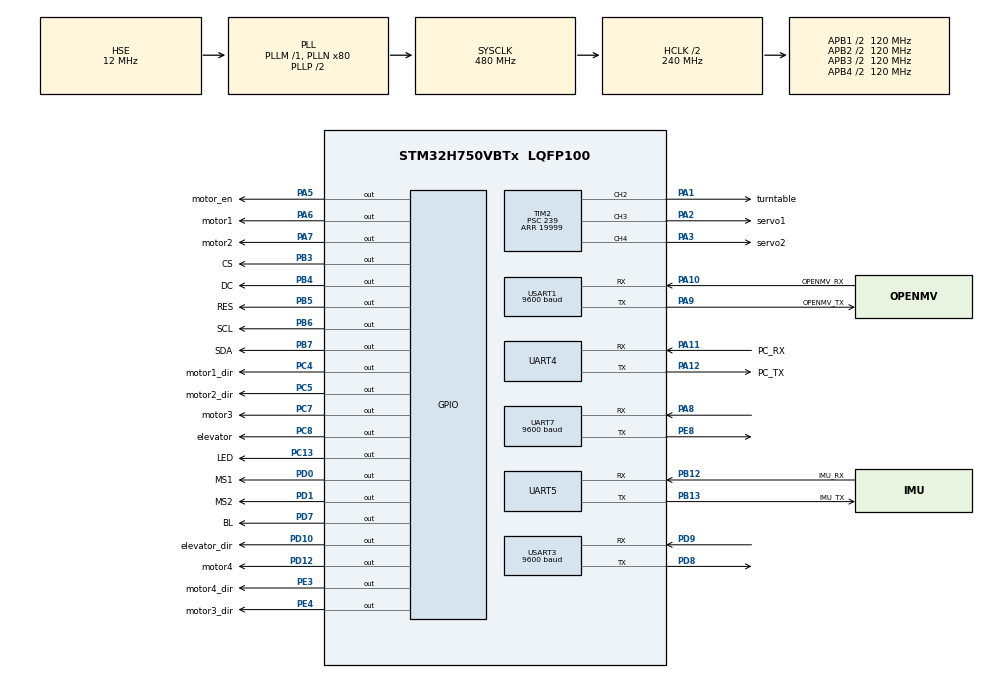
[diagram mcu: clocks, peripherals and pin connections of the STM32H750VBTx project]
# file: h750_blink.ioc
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Mcu.Family=STM32H7
Mcu.Name=STM32H750VBTx
Mcu.Package=LQFP100
NVIC.PriorityGroup=NVIC_PRIORITYGROUP_3
NVIC.UART5_IRQn=true\:0\:0\:false\:false\:true\:true\:true\:true
NVIC.UART7_IRQn=true\:3\:0\:true\:false\:true\:true\:true\:true
NVIC.USART1_IRQn=true\:0\:1\:true\:false\:true\:true\:true\:true
PA1.GPIO_Label=turntable
PA1.Signal=S_TIM2_CH2
PA10.GPIO_Label=OPENMV_RX
PA10.Mode=Asynchronous
PA10.Signal=USART1_RX
PA11.GPIO_Label=PC_RX
PA11.Mode=Asynchronous
PA11.Signal=UART4_RX
PA12.GPIO_Label=PC_TX
PA12.Mode=Asynchronous
PA12.Signal=UART4_TX
PA13\ (JTMS/SWDIO).Mode=Serial_Wire
PA13\ (JTMS/SWDIO).Signal=DEBUG_JTMS-SWDIO
PA14\ (JTCK/SWCLK).Mode=Serial_Wire
PA14\ (JTCK/SWCLK).Signal=DEBUG_JTCK-SWCLK
PA2.GPIO_Label=servo1
PA2.Signal=S_TIM2_CH3
PA3.GPIO_Label=servo2
PA3.Signal=S_TIM2_CH4
PA5.GPIO_Label=motor_en
PA5.GPIO_Speed=GPIO_SPEED_FREQ_LOW
PA5.Signal=GPIO_Output
PA6.GPIO_Label=motor1
PA6.Signal=GPIO_Output
PA7.GPIO_Label=motor2
PA7.Signal=GPIO_Output
PA8.Mode=Asynchronous
PA8.Signal=UART7_RX
PA9.GPIO_Label=OPENMV_TX
PA9.Mode=Asynchronous
PA9.Signal=USART1_TX
PB12.GPIO_Label=IMU_RX
PB12.Mode=Asynchronous
PB12.Signal=UART5_RX
PB13.GPIO_Label=IMU_TX
PB13.Mode=Asynchronous
PB13.Signal=UART5_TX
PB3\ (JTDO/TRACESWO).GPIO_Label=CS
PB3\ (JTDO/TRACESWO).GPIO_Speed=GPIO_SPEED_FREQ_LOW
PB3\ (JTDO/TRACESWO).Signal=GPIO_Output
PB4\ (NJTRST).GPIO_Label=DC
PB4\ (NJTRST).GPIO_Speed=GPIO_SPEED_FREQ_LOW
PB4\ (NJTRST).Signal=GPIO_Output
PB5.GPIO_Label=RES
PB5.GPIO_Speed=GPIO_SPEED_FREQ_LOW
PB5.Signal=GPIO_Output
PB6.GPIO_Label=SCL
PB6.GPIO_Speed=GPIO_SPEED_FREQ_LOW
PB6.Signal=GPIO_Output
PB7.GPIO_Label=SDA
PB7.GPIO_Speed=GPIO_SPEED_FREQ_LOW
PB7.Signal=GPIO_Output
PC13.GPIO_Label=LED
PC13.Signal=GPIO_Output
PC4.GPIO_Label=motor1_dir
PC4.Signal=GPIO_Output
PC5.GPIO_Label=motor2_dir
PC5.Signal=GPIO_Output
PC7.GPIO_Label=motor3
PC7.Signal=GPIO_Output
PC8.GPIO_Label=elevator
PC8.Signal=GPIO_Output
PD0.GPIO_Label=MS1
PD0.PinState=GPIO_PIN_SET
PD0.Signal=GPIO_Output
PD1.GPIO_Label=MS2
PD1.Signal=GPIO_Output
PD10.GPIO_Label=elevator_dir
PD10.Signal=GPIO_Output
PD12.GPIO_Label=motor4
PD12.Signal=GPIO_Output
PD7.GPIO_Label=BL
PD7.GPIO_Speed=GPIO_SPEED_FREQ_LOW
PD7.Signal=GPIO_Output
PD8.Mode=Asynchronous
PD8.Signal=USART3_TX
PD9.Mode=Asynchronous
PD9.Signal=USART3_RX
PE3.GPIO_Label=motor4_dir
PE3.Signal=GPIO_Output
PE4.GPIO_Label=motor3_dir
PE4.Signal=GPIO_Output
PE8.Mode=Asynchronous
PE8.Signal=UART7_TX
PH0-OSC_IN\ (PH0).Mode=HSE-External-Oscillator
PH0-OSC_IN\ (PH0).Signal=RCC_OSC_IN
PH1-OSC_OUT\ (PH1).Mode=HSE-External-Oscillator
PH1-OSC_OUT\ (PH1).Signal=RCC_OSC_OUT
ProjectManager.HeapSize=0x200
ProjectManager.StackSize=0x400
ProjectManager.TargetToolchain=STM32CubeIDE
RCC.ADCFreq_Value=24187500
RCC.APB1Freq_Value=120000000
RCC.APB2Freq_Value=120000000
RCC.APB3Freq_Value=120000000
RCC.APB4Freq_Value=120000000
RCC.CortexFreq_Value=480000000
RCC.D1PPRE=RCC_APB3_DIV2
RCC.D2PPRE1=RCC_APB1_DIV2
RCC.D2PPRE2=RCC_APB2_DIV2
RCC.D3PPRE=RCC_APB4_DIV2
RCC.DIVM1=1
RCC.DIVN1=80
RCC.HCLKFreq_Value=240000000
RCC.HPRE=RCC_HCLK_DIV2
RCC.HSE_VALUE=12000000
RCC.PLLFRACN=0
RCC.PLLSourceVirtual=RCC_PLLSOURCE_HSE
RCC.SYSCLKFreq_VALUE=480000000
RCC.SYSCLKSource=RCC_SYSCLKSOURCE_PLLCLK
RCC.USBFreq_Value=480000000
SH.S_TIM2_CH2.0=TIM2_CH2,PWM Generation2 CH2
SH.S_TIM2_CH3.0=TIM2_CH3,PWM Generation3 CH3
SH.S_TIM2_CH4.0=TIM2_CH4,PWM Generation4 CH4
TIM2.AutoReloadPreload=TIM_AUTORELOAD_PRELOAD_ENABLE
TIM2.Channel-PWM\ Generation2\ CH2=TIM_CHANNEL_2
TIM2.Channel-PWM\ Generation3\ CH3=TIM_CHANNEL_3
TIM2.Channel-PWM\ Generation4\ CH4=TIM_CHANNEL_4
TIM2.Period=19999
TIM2.Prescaler=239
UART7.BaudRate=9600
USART1.BaudRate=9600
USART1.VirtualMode-Asynchronous=VM_ASYNC
USART3.BaudRate=9600
USART3.VirtualMode-Asynchronous=VM_ASYNC
VP_MEMORYMAP_VS_MEMORYMAP.Mode=CurAppReg
board=custom

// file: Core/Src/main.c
/* USER CODE BEGIN Header */
/**
  ******************************************************************************
  * @file           : main.c
  * @brief          : Main program body
  ******************************************************************************
  * @attention
  *
  * Copyright (c) 2024 STMicroelectronics.
  * All rights reserved.
  *
  * This software is licensed under terms that can be found in the LICENSE file
  * in the root directory of this software component.
  * If no LICENSE file comes with this software, it is provided AS-IS.
  *
  ******************************************************************************
  */
/* USER CODE END Header */
#include "main.h"
#include "memorymap.h"
#include "tim.h"
#include "usart.h"
#include "gpio.h"

/* USER CODE BEGIN PD */

//ƽ���з�??
void turnleft_pid(void);
void car_right_pid(unsigned int gom);
void car_left_pid(unsigned int gom);
void normal_pid(float target_data);
/* USER CODE END PD */

/* USER CODE BEGIN PV */
//?????????��????

//??????????����

//??????????����

/* USER CODE END PV */

void SystemClock_Config(void);
/* USER CODE BEGIN PFP */
uint8_t USART1_RXbuff[20];
uint8_t code[3];
uint8_t IMU_RxBuffer[4];
uint8_t QRCODE[6];
//int16_t error_k230_x;
union un{
    uint8_t buff[4];
    float data;
};
union un IMU_data;
uint16_t last[10];
uint8_t indx;
float initial_angel;
float first_initial_angel;
/* USER CODE END PFP */

/* USER CODE BEGIN 0 */
uint8_t color;

volatile uint16_t buffer[BUFFER_SIZE];            // ���λ�����
volatile uint16_t sum = 0;
volatile uint16_t X=0;
volatile uint16_t Y=0;
volatile uint16_t X0=0;
volatile uint16_t Y0=0;
uint16_t r;
uint16_t r0;
uint8_t motionflag;
uint8_t k230_RxBuffer[1];   //????????????
uint16_t RxLine = 0;   //?????��??
uint8_t DataBuff[200]; //????????

float last_data,error_data,delta_data;
float expect_data=90.00;
float k230_kp=0.5;
/* USER CODE END 0 */

int main(void)
{

  /* MCU Configuration--------------------------------------------------------*/

  /* Reset of all peripherals, Initializes the Flash interface and the Systick. */
  HAL_Init();

  /* Configure the system clock */
  SystemClock_Config();

  /* Initialize all configured peripherals */
  MX_GPIO_Init();
  LCD_Init();
  MX_UART4_Init();
  MX_TIM2_Init();
  MX_USART1_UART_Init();
  MX_USART3_UART_Init();
  MX_UART5_Init();
  MX_UART7_Init();
  /* USER CODE BEGIN 2 */
    // HAL_TIM_PWM_Start(&htim2,TIM_CHANNEL_4);
    HAL_UART_Receive_IT(&huart1,(uint8_t *)USART1_RXbuff, 7);
    HAL_UART_Receive_IT(&huart7,(uint8_t *)k230_RxBuffer, 1);
    HAL_UART_Receive_IT(&huart5,(uint8_t *)IMU_RxBuffer, 4);
    HAL_TIM_PWM_Start(&htim2,TIM_CHANNEL_2);
    HAL_TIM_PWM_Start(&htim2,TIM_CHANNEL_3);
    HAL_TIM_PWM_Start(&htim2,TIM_CHANNEL_4);
    RetargetInit(&huart4);

    //HAL_TIM_PWM_Start(&htim2,TIM_CHANNEL_3);
    delay_init(480);
    HAL_GPIO_WritePin(motor3_dir_GPIO_Port,motor3_dir_Pin,SET);
    HAL_GPIO_WritePin(motor4_dir_GPIO_Port,motor4_dir_Pin,SET);
    delay_ms(1000);
  /* USER CODE END 2 */

  /* Infinite loop */
  /* USER CODE BEGIN WHILE */
//    QRCODE[0]=3;
//    QRCODE[1]=2;
//    QRCODE[2]=1;
    while (1) {

    /* USER CODE END WHILE */

    /* USER CODE BEGIN 3 */

        LCD_DrawLine(80, 40, 80, 80);//????+
        LCD_DrawLine(70, 60, 90, 60);
        // position0;
        // delay_ms(1000);
        // position3;
        // position2;
        // for(;;);

        // delay_ms(1000);
        // servo_open;

        // elevator_down(200);
        // elevator_up(200);
        // delay_ms(1000);
        // fistpick();
        // delay_ms(500);
        // position0;

        position2;

        delay_ms(5000);

        //__HAL_TIM_SET_COMPARE(&htim2, TIM_CHANNEL_2, 1000);

        //microposition0(&X0, &Y0);
        // secondpick();

//
//        while (color != QRCODE[0]);
//////      {
//////      // printf("color:%d\n",color);
//////      }
//        servo_open;
//        microposition(&X, &Y);
//        fistpick();

        servo_open;

        initial_angel = IMU_data.data;
        first_initial_angel = IMU_data.data;

        car_left_pid(1000);
        initial_angel = IMU_data.data;
        first_initial_angel = IMU_data.data;
        //normal_pid(0);

//        while (QRCODE[0] == 0)//�ȴ���ά��ʶ��
//        {
//            microforward(1);
//        }

        elevator_down(1000);
        gotarget_s(4800);
        while (QRCODE[0] == 0);//�ȴ���ά��ʶ��
        position0;
        gotarget_s(4575);

        car_right_pid(400);
        //normal_pid(0);

        while (color != QRCODE[0]);
//      {
//      // printf("color:%d\n",color);
//      }
        // elevator_up(200);
        // elevator_down(200);
        microposition(&X, &Y);
        fistpick();
        switch (QRCODE[0]) {
            case 1:
                layin1();
//                position1;
                break;
            case 2:
                layin2();
//                position2;
                break;
            case 3:
                layin3();
//                position3;
                break;
        }

        position0;
        delay_ms(100);
        for (uint8_t i = 1; i < 3; i++) {
            while (color != QRCODE[i]);

            fistpick();
            switch (QRCODE[i]) {
                case 1:
                    layin1();
//                    position1;
                    break;
                case 2:
                    layin2();
//                    position2;
                    break;
                case 3:
                    layin3();
//                    position3;
                    break;
            }

            position0;
            delay_ms(100);
        }

        car_left_pid(400);
        //normal_pid(0);

        gotarget_s(2560);
        //normal_pid(0);

        turnleft(2035);
        // normal_pid(90);
        initial_angel = IMU_data.data - 0.8;

        gotarget_s(4750);

        car_right_pid(500);
        delay_ms(100);

        if (QRCODE[0] == 1 && QRCODE[1] == 2 && QRCODE[2] == 3) {
            microposition0(&X0, &Y0);
            layout1();
            //normal_pid(0);
            gotarget_s(950);
            // microposition0(&X0, &Y0);
            layout2();
            //normal_pid(0);
            gotarget_s(950);
            // microposition0(&X0, &Y0);
            layout3();
            //normal_pid(0);
            gotarget_s_back(1900);
            // microposition0(&X0, &Y0);
            secondpick();
            layin1();
            position0;
            //normal_pid(0);
            gotarget_s(950);
            secondpick();
            layin2();
            position0;
            //normal_pid(0);
            gotarget_s(950);
            secondpick();
            layin3();
            position0;
        }

        if (QRCODE[0] == 1 && QRCODE[1] == 3 && QRCODE[2] == 2) {
            microposition0(&X0, &Y0);
            layout1();
            //normal_pid(0);
            gotarget_s(1900);
            // microposition0(&X0, &Y0);
            layout3();
            //normal_pid(0);
            gotarget_s_back(950);
            // microposition0(&X0, &Y0);
            layout2();
            //normal_pid(0);
            gotarget_s_back(950);
            // microposition0(&X0, &Y0);
            secondpick();
            layin1();
            position0;
            //normal_pid(0);
            gotarget_s(1900);
            // microposition0(&X0, &Y0);
            secondpick();
            layin3();
            position0;
            //normal_pid(0);
            gotarget_s_back(950);
            // microposition0(&X0, &Y0);
            secondpick();
            layin2();
            position0;
            //normal_pid(0);
            gotarget_s(950);
        }

        if (QRCODE[0] == 2 && QRCODE[1] == 1 && QRCODE[2] == 3) {
            microposition0(&X0, &Y0);
            //normal_pid(0);
            gotarget_s(950);
            // microposition0(&X0, &Y0);
            layout2();
            //normal_pid(0);
            gotarget_s_back(950);
            // microposition0(&X0, &Y0);
            layout1();
            //normal_pid(0);
            gotarget_s(1900);
            // microposition0(&X0, &Y0);
            layout3();
            //normal_pid(0);
            gotarget_s_back(950);
            // microposition0(&X0, &Y0);
            secondpick();
            layin2();
            position0;
            //normal_pid(0);
            gotarget_s_back(950);
            // microposition0(&X0, &Y0);
            secondpick();
            layin1();
            position0;
            //normal_pid(0);
            gotarget_s(1900);
            // microposition0(&X0, &Y0);
            secondpick();
            layin3();
            position0;
        }

        if (QRCODE[0] == 2 && QRCODE[1] == 3 && QRCODE[2] == 1) {
            microposition0(&X0, &Y0);
            //normal_pid(0);
            gotarget_s(950);
            // microposition0(&X0, &Y0);
            layout2();
            //normal_pid(0);
            gotarget_s(950);
            // microposition0(&X0, &Y0);
            layout3();
            //normal_pid(0);
            gotarget_s_back(1900);
            // microposition0(&X0, &Y0);
            layout1();
            //normal_pid(0);
            gotarget_s(950);
            // microposition0(&X0, &Y0);
            secondpick();
            layin2();
            position0;
            //normal_pid(0);
            gotarget_s(950);
            // microposition0(&X0, &Y0);
            secondpick();
            layin3();
            position0;
            //normal_pid(0);
            gotarget_s_back(1900);
            // microposition0(&X0, &Y0);
            secondpick();
            layin1();
            position0;
            //normal_pid(0);
            gotarget_s(1900);

        }

        if (QRCODE[0] == 3 && QRCODE[1] == 1 && QRCODE[2] == 2) {
            microposition0(&X0, &Y0);
            //normal_pid(0);
            gotarget_s(1900);
            // microposition0(&X0, &Y0);
            layout3();
            //normal_pid(0);
            gotarget_s_back(1900);
            // microposition0(&X0, &Y0);
            layout1();
            //normal_pid(0);
            gotarget_s(950);
            // microposition0(&X0, &Y0);
            layout2();
            //normal_pid(0);
            gotarget_s(950);
            // microposition0(&X0, &Y0);
            secondpick();
            layin3();
            position0;
            //normal_pid(0);
            gotarget_s_back(1900);
            // microposition0(&X0, &Y0);
            secondpick();
            layin1();
            position0;
            //normal_pid(0);
            gotarget_s(950);
            // microposition0(&X0, &Y0);
            secondpick();
            layin2();
            position0;
            //normal_pid(0);
            gotarget_s(950);
        }

        if (QRCODE[0] == 3 && QRCODE[1] == 2 && QRCODE[2] == 1) {
            microposition0(&X0, &Y0);
            //normal_pid(0);
            gotarget_s(1900);
            // microposition0(&X0, &Y0);
            layout3();
            //normal_pid(0);
            gotarget_s_back(950);
            // microposition0(&X0, &Y0);
            layout2();
            //normal_pid(0);
            gotarget_s_back(950);
            // microposition0(&X0, &Y0);
            layout1();
            //normal_pid(0);
            gotarget_s(1900);
            // microposition0(&X0, &Y0);
            secondpick();
            layin3();
            position0;
            //normal_pid(0);
            gotarget_s_back(950);
            // microposition0(&X0, &Y0);
            secondpick();
            layin2();
            position0;
            //normal_pid(0);
            gotarget_s_back(950);
            // microposition0(&X0, &Y0);
            secondpick();
            layin1();
            position0;
            //normal_pid(0);
            gotarget_s(1900);

        }

        car_left_pid(800);
        //normal_pid(0);
        gotarget_s(3400);
        //normal_pid(0);

        turnleft(2035);
        // if (first_initial_angel + 180 <= 180 && first_initial_angel + 180 >= -180)
        //     initial_angel = first_initial_angel + 180;
        // else if (first_initial_angel + 180 > 180)
        //     initial_angel = -180 + first_initial_angel + 180 - 180;
        initial_angel = IMU_data.data - 0.8;

        gotarget_s(4000);
        //normal_pid(0);
        car_right_pid(300);

        if (QRCODE[0] == 1 && QRCODE[1] == 2 && QRCODE[2] == 3) {
            microposition0(&X0, &Y0);
            layout1();
            //normal_pid(0);
            gotarget_s(950);
            // microposition0(&X0, &Y0);
            layout2();
            //normal_pid(0);
            gotarget_s(950);
            // microposition0(&X0, &Y0);
            layout3();
            //normal_pid(0);
            gotarget_s_back(1900);
        }

        if (QRCODE[0] == 1 && QRCODE[1] == 3 && QRCODE[2] == 2) {
            microposition0(&X0, &Y0);
            layout1();
            //normal_pid(0);
            gotarget_s(1900);
            // microposition0(&X0, &Y0);
            layout3();
            //normal_pid(0);
            gotarget_s_back(950);
            // microposition0(&X0, &Y0);
            layout2();
            //normal_pid(0);
            gotarget_s_back(950);

        }

        if (QRCODE[0] == 2 && QRCODE[1] == 1 && QRCODE[2] == 3) {
            microposition0(&X0, &Y0);
            //normal_pid(0);
            gotarget_s(950);
            // microposition0(&X0, &Y0);
            layout2();
            //normal_pid(0);
            gotarget_s_back(950);
            // microposition0(&X0, &Y0);
            layout1();
            //normal_pid(0);
            gotarget_s(1900);
            // microposition0(&X0, &Y0);
            layout3();
            //normal_pid(0);
            gotarget_s_back(1900);

        }

        if (QRCODE[0] == 2 && QRCODE[1] == 3 && QRCODE[2] == 1) {
            microposition0(&X0, &Y0);
            //normal_pid(0);
            gotarget_s(950);
            // microposition0(&X0, &Y0);
            layout2();
            //normal_pid(0);
            gotarget_s(950);
            // microposition0(&X0, &Y0);
            layout3();
            //normal_pid(0);
            gotarget_s_back(1900);
            // microposition0(&X0, &Y0);
            layout1();

        }

        if (QRCODE[0] == 3 && QRCODE[1] == 1 && QRCODE[2] == 2) {
            microposition0(&X0, &Y0);
            //normal_pid(0);
            gotarget_s(1900);
            // microposition0(&X0, &Y0);
            layout3();
            //normal_pid(0);
            gotarget_s_back(1900);
            // microposition0(&X0, &Y0);
            layout1();
            //normal_pid(0);
            gotarget_s(950);
            // microposition0(&X0, &Y0);
            layout2();
            //normal_pid(0);
            gotarget_s_back(950);
        }

        if (QRCODE[0] == 3 && QRCODE[1] == 2 && QRCODE[2] == 1) {
            microposition0(&X0, &Y0);
            //normal_pid(0);
            gotarget_s(1900);
            // microposition0(&X0, &Y0);
            layout3();
            //normal_pid(0);
            gotarget_s_back(950);
            // microposition0(&X0, &Y0);
            layout2();
            //normal_pid(0);
            gotarget_s_back(950);
            // microposition0(&X0, &Y0);
            layout1();

        }

        car_left_pid(500);

        gotarget_s_back(4200);
        //normal_pid(0);
        initial_angel = IMU_data.data - 0.8;
        turnright(2035);
        delay_ms(100);
        // normal_pid(-90);
        initial_angel = IMU_data.data;
        // if (first_initial_angel + 90 <= 180 && first_initial_angel + 90 >= -180)
        //     initial_angel = first_initial_angel + 90;
        // else if (first_initial_angel + 90 > 180)
        //     initial_angel = -180 + first_initial_angel + 90 - 180;

        gotarget_s_back(10000);

        //normal_pid(0);
        turnright(2035);
        delay_ms(100);
        // normal_pid(-90);
        initial_angel=IMU_data.data - 1;

        gotarget_s_back(2360);

        car_right_pid(400);
        //normal_pid(0);

        while (color != QRCODE[3]);
        // }
        //     car_right_pid(1);
        // }

        microposition(&X, &Y);
        fistpick();
        switch (QRCODE[3]) {
            case 1:
                layin1();
//                position1;
                break;
            case 2:
                layin2();
//                position2;
                break;
            case 3:
                layin3();
//                position3;
                break;
        }

        position0;
        delay_ms(200);
        for (uint8_t i = 4; i < 6; i++) {
            while (color != QRCODE[i]);

            fistpick();
            switch (QRCODE[i]) {
                case 1:
                    layin1();
//                    position1;
                    break;
                case 2:
                    layin2();
//                    position2;
                    break;
                case 3:
                    layin3();
//                    position3;
                    break;
            }

            position0;
            delay_ms(200);
        }

        // �ڶ��˵�һ�η�
        car_left_pid(400);
        //normal_pid(0);

        gotarget_s(2560);
        initial_angel = IMU_data.data;

        turnleft(2035);
        // normal_pid(90);
        initial_angel = IMU_data.data;

        gotarget_s(4750);
        //normal_pid(0);
        car_right_pid(500);
        delay_ms(100);
        //normal_pid(0);

        if (QRCODE[3] == 1 && QRCODE[4] == 2 && QRCODE[5] == 3) {
            microposition0(&X0, &Y0);
            layout1();
            //normal_pid(0);
            gotarget_s(950);
            // microposition0(&X0, &Y0);
            layout2();
            //normal_pid(0);
            gotarget_s(950);
            // microposition0(&X0, &Y0);
            layout3();
            //normal_pid(0);
            gotarget_s_back(1900);
            // microposition0(&X0, &Y0);
            secondpick();
            layin1();
            position0;
            //normal_pid(0);
            gotarget_s(950);
            secondpick();
            layin2();
            position0;
            //normal_pid(0);
            gotarget_s(950);
            secondpick();
            layin3();
            position0;
        }

        if (QRCODE[3] == 1 && QRCODE[4] == 3 && QRCODE[5] == 2) {
            microposition0(&X0, &Y0);
            layout1();
            //normal_pid(0);
            gotarget_s(1900);
            // microposition0(&X0, &Y0);
            layout3();
            //normal_pid(0);
            gotarget_s_back(950);
            // microposition0(&X0, &Y0);
            layout2();
            //normal_pid(0);
            gotarget_s_back(950);
            // microposition0(&X0, &Y0);
            secondpick();
            layin1();
            position0;
            //normal_pid(0);
            gotarget_s(1900);
            // microposition0(&X0, &Y0);
            secondpick();
            layin3();
            position0;
            //normal_pid(0);
            gotarget_s_back(950);
            // microposition0(&X0, &Y0);
            secondpick();
            layin2();
            position0;
            //normal_pid(0);
            gotarget_s(950);
        }

        if (QRCODE[3] == 2 && QRCODE[4] == 1 && QRCODE[5] == 3) {
            microposition0(&X0, &Y0);
            //normal_pid(0);
            gotarget_s(950);
            // microposition0(&X0, &Y0);
            layout2();
            //normal_pid(0);
            gotarget_s_back(950);
            // microposition0(&X0, &Y0);
            layout1();
            //normal_pid(0);
            gotarget_s(1900);
            // microposition0(&X0, &Y0);
            layout3();
            //normal_pid(0);
            gotarget_s_back(950);
            // microposition0(&X0, &Y0);
            secondpick();
            layin2();
            position0;
            //normal_pid(0);
            gotarget_s_back(950);
            // microposition0(&X0, &Y0);
            secondpick();
            layin1();
            position0;
            //normal_pid(0);
            gotarget_s(1900);
            // microposition0(&X0, &Y0);
            secondpick();
            layin3();
            position0;
        }

        if (QRCODE[3] == 2 && QRCODE[4] == 3 && QRCODE[5] == 1) {
            microposition0(&X0, &Y0);
            //normal_pid(0);
            gotarget_s(950);
            // microposition0(&X0, &Y0);
            layout2();
            //normal_pid(0);
            gotarget_s(950);
            // microposition0(&X0, &Y0);
            layout3();
            //normal_pid(0);
            gotarget_s_back(1900);
            // microposition0(&X0, &Y0);
            layout1();
            //normal_pid(0);
            gotarget_s(950);
            // microposition0(&X0, &Y0);
            secondpick();
            layin2();
            position0;
            //normal_pid(0);
            gotarget_s(950);
            // microposition0(&X0, &Y0);
            secondpick();
            layin3();
            position0;
            //normal_pid(0);
            gotarget_s_back(1900);
            // microposition0(&X0, &Y0);
            secondpick();
            layin1();
            position0;
            //normal_pid(0);
            gotarget_s(1900);

        }

        if (QRCODE[3] == 3 && QRCODE[4] == 1 && QRCODE[5] == 2) {
            microposition0(&X0, &Y0);
            //normal_pid(0);
            gotarget_s(1900);
            // microposition0(&X0, &Y0);
            layout3();
            //normal_pid(0);
            gotarget_s_back(1900);
            // microposition0(&X0, &Y0);
            layout1();
            //normal_pid(0);
            gotarget_s(950);
            // microposition0(&X0, &Y0);
            layout2();
            //normal_pid(0);
            gotarget_s(950);
            // microposition0(&X0, &Y0);
            secondpick();
            layin3();
            position0;
            //normal_pid(0);
            gotarget_s_back(1900);
            // microposition0(&X0, &Y0);
            secondpick();
            layin1();
            position0;
            //normal_pid(0);
            gotarget_s(950);
            // microposition0(&X0, &Y0);
            secondpick();
            layin2();
            position0;
            //normal_pid(0);
            gotarget_s(950);
        }

        if (QRCODE[3] == 3 && QRCODE[4] == 2 && QRCODE[5] == 1) {
            microposition0(&X0, &Y0);
            //normal_pid(0);
            gotarget_s(1900);
            // microposition0(&X0, &Y0);
            layout3();
            //normal_pid(0);
            gotarget_s_back(950);
            // microposition0(&X0, &Y0);
            layout2();
            //normal_pid(0);
            gotarget_s_back(950);
            // microposition0(&X0, &Y0);
            layout1();
            //normal_pid(0);
            gotarget_s(1900);
            // microposition0(&X0, &Y0);
            secondpick();
            layin3();
            position0;
            //normal_pid(0);
            gotarget_s_back(950);
            // microposition0(&X0, &Y0);
            secondpick();
            layin2();
            position0;
            //normal_pid(0);
            gotarget_s_back(950);
            // microposition0(&X0, &Y0);
            secondpick();
            layin1();
            position0;
            //normal_pid(0);
            gotarget_s(1900);

        }

        car_left_pid(800);
        //normal_pid(0);
        gotarget_s(3400);

        turnleft(2035);
        // if (first_initial_angel + 180 <= 180 && first_initial_angel + 180 >= -180)
        //     initial_angel = first_initial_angel + 180;
        // else if (first_initial_angel + 90 > 180)
        //     initial_angel = -180 + first_initial_angel + 180 - 180;
        initial_angel = IMU_data.data - 0.5;
        gotarget_s(4000);
        //normal_pid(0);
        car_right_pid(300);
        //normal_pid(0);

        if (QRCODE[3] == 1 && QRCODE[4] == 2 && QRCODE[5] == 3) {
            microposition0(&X0, &Y0);
            layout1_2();
            //normal_pid(0);
            gotarget_s(950);
            // microposition0(&X0, &Y0);
            layout2_2();
            //normal_pid(0);
            gotarget_s(950);
            // microposition0(&X0, &Y0);
            layout3_2();
            //normal_pid(0);
            gotarget_s_back(1900);
        }

        if (QRCODE[3] == 1 && QRCODE[4] == 3 && QRCODE[5] == 2) {
            microposition0(&X0, &Y0);
            layout1_2();
            //normal_pid(0);
            gotarget_s(1900);
            // microposition0(&X0, &Y0);
            layout3_2();
            //normal_pid(0);
            gotarget_s_back(950);
            // microposition0(&X0, &Y0);
            layout2_2();
            //normal_pid(0);
            gotarget_s_back(950);

        }

        if (QRCODE[3] == 2 && QRCODE[4] == 1 && QRCODE[5] == 3) {
            microposition0(&X0, &Y0);
            //normal_pid(0);
            gotarget_s(950);
            // microposition0(&X0, &Y0);
            layout2_2();
            //normal_pid(0);
            gotarget_s_back(950);
            // microposition0(&X0, &Y0);
            layout1_2();
            //normal_pid(0);
            gotarget_s(1900);
            // microposition0(&X0, &Y0);
            layout3_2();
            //normal_pid(0);
            gotarget_s_back(1900);

        }

        if (QRCODE[3] == 2 && QRCODE[4] == 3 && QRCODE[5] == 1) {
            microposition0(&X0, &Y0);
            //normal_pid(0);
            gotarget_s(950);
            // microposition0(&X0, &Y0);
            layout2_2();
            //normal_pid(0);
            gotarget_s(950);
            // microposition0(&X0, &Y0);
            layout3_2();
            //normal_pid(0);
            gotarget_s_back(1900);
            // microposition0(&X0, &Y0);
            layout1_2();

        }

        if (QRCODE[3] == 3 && QRCODE[4] == 1 && QRCODE[5] == 2) {
            microposition0(&X0, &Y0);
            //normal_pid(0);
            gotarget_s(1900);
            // microposition0(&X0, &Y0);
            layout3_2();
            //normal_pid(0);
            gotarget_s_back(1900);
            // microposition0(&X0, &Y0);
            layout1_2();
            //normal_pid(0);
            gotarget_s(950);
            // microposition0(&X0, &Y0);
            layout2_2();
            //normal_pid(0);
            gotarget_s_back(950);
        }

        if (QRCODE[3] == 3 && QRCODE[4] == 2 && QRCODE[5] == 1) {
            microposition0(&X0, &Y0);
            //normal_pid(0);
            gotarget_s(1900);
            // microposition0(&X0, &Y0);
            layout3_2();
            //normal_pid(0);
            gotarget_s_back(950);
            // microposition0(&X0, &Y0);
            layout2_2();
            //normal_pid(0);
            gotarget_s_back(950);
            // microposition0(&X0, &Y0);
            layout1_2();

        }

        car_left_pid(500);
        //normal_pid(0);

        gotarget_s(6666);
        turnleft(2035);

        initial_angel = IMU_data.data - 1;
        normal_pid(0);
        gotarget_s(11300);

        for(;;);

    }

  /* USER CODE END 3 */
}

void SystemClock_Config(void)
{
  RCC_OscInitTypeDef RCC_OscInitStruct = {0};
  RCC_ClkInitTypeDef RCC_ClkInitStruct = {0};

  /** Supply configuration update enable
  */
  HAL_PWREx_ConfigSupply(PWR_LDO_SUPPLY);

  /** Configure the main internal regulator output voltage
  */
  __HAL_PWR_VOLTAGESCALING_CONFIG(PWR_REGULATOR_VOLTAGE_SCALE1);

  while(!__HAL_PWR_GET_FLAG(PWR_FLAG_VOSRDY)) {}

  __HAL_RCC_SYSCFG_CLK_ENABLE();
  __HAL_PWR_VOLTAGESCALING_CONFIG(PWR_REGULATOR_VOLTAGE_SCALE0);

  while(!__HAL_PWR_GET_FLAG(PWR_FLAG_VOSRDY)) {}

  /** Initializes the RCC Oscillators according to the specified parameters
  * in the RCC_OscInitTypeDef structure.
  */
  RCC_OscInitStruct.OscillatorType = RCC_OSCILLATORTYPE_HSE;
  RCC_OscInitStruct.HSEState = RCC_HSE_ON;
  RCC_OscInitStruct.PLL.PLLState = RCC_PLL_ON;
  RCC_OscInitStruct.PLL.PLLSource = RCC_PLLSOURCE_HSE;
  RCC_OscInitStruct.PLL.PLLM = 1;
  RCC_OscInitStruct.PLL.PLLN = 80;
  RCC_OscInitStruct.PLL.PLLP = 2;
  RCC_OscInitStruct.PLL.PLLQ = 2;
  RCC_OscInitStruct.PLL.PLLR = 2;
  RCC_OscInitStruct.PLL.PLLRGE = RCC_PLL1VCIRANGE_3;
  RCC_OscInitStruct.PLL.PLLVCOSEL = RCC_PLL1VCOWIDE;
  RCC_OscInitStruct.PLL.PLLFRACN = 0;
  if (HAL_RCC_OscConfig(&RCC_OscInitStruct) != HAL_OK)
  {
    Error_Handler();
  }

  /** Initializes the CPU, AHB and APB buses clocks
  */
  RCC_ClkInitStruct.ClockType = RCC_CLOCKTYPE_HCLK|RCC_CLOCKTYPE_SYSCLK
                              |RCC_CLOCKTYPE_PCLK1|RCC_CLOCKTYPE_PCLK2
                              |RCC_CLOCKTYPE_D3PCLK1|RCC_CLOCKTYPE_D1PCLK1;
  RCC_ClkInitStruct.SYSCLKSource = RCC_SYSCLKSOURCE_PLLCLK;
  RCC_ClkInitStruct.SYSCLKDivider = RCC_SYSCLK_DIV1;
  RCC_ClkInitStruct.AHBCLKDivider = RCC_HCLK_DIV2;
  RCC_ClkInitStruct.APB3CLKDivider = RCC_APB3_DIV2;
  RCC_ClkInitStruct.APB1CLKDivider = RCC_APB1_DIV2;
  RCC_ClkInitStruct.APB2CLKDivider = RCC_APB2_DIV2;
  RCC_ClkInitStruct.APB4CLKDivider = RCC_APB4_DIV2;

  if (HAL_RCC_ClockConfig(&RCC_ClkInitStruct, FLASH_LATENCY_4) != HAL_OK)
  {
    Error_Handler();
  }
}

/* USER CODE BEGIN 4 */

uint16_t data_Integer_calculate(uint8_t data_Integer_len, uint8_t data_Start_Num) {
    // ????????????
    uint16_t data_return = 0;			 // ????????
    if(data_Integer_len != 0)//?????????��
    {
        if (data_Integer_len == 1)
        {
            data_return  = (DataBuff[data_Start_Num] - 48);
        }
        else if (data_Integer_len == 2)
        {
            data_return = (DataBuff[data_Start_Num] - 48) * 10 + (DataBuff[data_Start_Num + 1] - 48);
        }
        else if (data_Integer_len == 3)
        {
            data_return = (DataBuff[data_Start_Num] - 48) * 100 + (DataBuff[data_Start_Num + 1] - 48)*10 +
                          (DataBuff[data_Start_Num + 2] - 48);
        }
        else if (data_Integer_len == 4)
        {
            data_return = (DataBuff[data_Start_Num] - 48) * 1000 + (DataBuff[data_Start_Num + 1] - 48)*100 +
                          (DataBuff[data_Start_Num + 3] - 48) * 10 + (DataBuff[data_Start_Num + 4] - 48);
        }
    }
    return data_return;  // ��???????????????????

}

void Get_Data(void)
{

    uint8_t data_X_S = 0;
    uint8_t data_X_E = 0;
    uint8_t data_X_len = 0;
    uint8_t data_Y_S = 0;
    uint8_t data_Y_E = 0;
    uint8_t data_Y_len = 0;
    uint8_t data_r_S = 0;
    uint8_t data_r_E = 0;  // ???????��??????
    uint8_t data_r_len = 0;

    // ?��????????????????????????????
    for (uint8_t i = 0; i < 200; i++)
    {
        if (DataBuff[i] == 'h')
        {
            // ????h?��????????����??????
            color = DataBuff[i + 1] - '0';
        //    printf("color:%d", color);
        }
        else if(DataBuff[i] == 'x')
        {
            data_X_S = i + 1;
        }
        else if(DataBuff[i] == 'y')
        {
            data_X_E = i - 1;
            data_Y_S = i + 1;
        }
        else if(DataBuff[i] == 'r')
        {
            data_Y_E = i - 1;
            data_r_S = i + 1;
        }
        else if (DataBuff[i] == 'i')
        {
            data_r_E = i - 1;;  // ???????????��????????����???????��????
            break;
        }
    }

    data_X_len = data_X_E - data_X_S + 1;
    data_Y_len = data_Y_E - data_Y_S + 1;
    data_r_len = data_r_E - data_r_S + 1;
    // printf("********************************");
    if (color == 1 || color == 2 || color == 3)
    {
        X = data_Integer_calculate(data_X_len, data_X_S);
        Y = data_Integer_calculate(data_Y_len, data_Y_S);
        // last[indx ++] = Y;
        // if (indx == 9)
        // {
        //     for (int i = 0; i < 10; i ++)
        // }
        r = data_Integer_calculate(data_r_len, data_r_S);
        printf("%d,%d,%d,%d\r\n", color, X, Y, r);
    }

    if (color == 4 || color == 5 || color == 6)
    {
        X0 = data_Integer_calculate(data_X_len, data_X_S);
        Y0 = data_Integer_calculate(data_Y_len, data_Y_S);
        r0 = data_Integer_calculate(data_r_len, data_r_S);
        printf("%d,%d,%d,%d\r\n", color, X0, Y0, r0);
    }

}

void turnleft_pid(void){

    last_data = initial_angel;
    turnleft(2035);
    delay_ms(100);
    delta_data = IMU_data.data - last_data;
    if (last_data > 0 && IMU_data.data < 0 &&  delta_data<-180) {
        delta_data += 360;//�����Խ0�ȵ�����
    }
    error_data = delta_data - expect_data;//�������

    while ((error_data > 0.1 || error_data < -0.1)) {
        if(motionflag) {
            motionflag = 0;
            if (error_data > 0) {
                //microturnright(5);
                microturnright(error_data * 10);
            } else {
                //microturnleft(5);
                microturnleft((-error_data) * 10);
            }

            //printf("error_data��%f\n", error_data);
        }
        delta_data = IMU_data.data - last_data;//����
        if (last_data > 0 && IMU_data.data < 0 && delta_data<-180) {
            delta_data += 360;//�����Խ0�ȵ�����
        }
        error_data = delta_data - expect_data;//�������
    }
}

void normal_pid(float target_data) {
    last_data = initial_angel + target_data;
    delta_data = IMU_data.data - last_data;
    if (delta_data<-180 && last_data > 0 && IMU_data.data < 0) {
        delta_data += 360;//�����Խ0�ȵ�����
    }
    error_data = delta_data;//�������
    while (error_data > 0.5 || error_data < -0.5) {
        if (motionflag) {
            motionflag = 0;
            // printf("%f\n",error_data);
            if (error_data > 0) {
                //microturnright(5);
                microturnright(error_data * 3);
            } else {
                //microturnleft(5);
                microturnleft((-error_data) * 3);
            }
            //printf("error_data��%f\n", error_data);
        }
        delta_data = IMU_data.data - last_data;//����
        if (delta_data<-180 && last_data > 0 && IMU_data.data < 0) {
            delta_data += 360;//�����Խ0�ȵ�����

        }
        error_data = delta_data;//�������
    }
}
void car_right_pid(unsigned int gom){
    last_data = IMU_data.data;
    car_right(gom);
    delta_data = IMU_data.data - last_data;
    if (last_data > 0 && IMU_data.data < 0 && delta_data < -180) {
        delta_data += 360;//�����Խ0�ȵ�����
    }
    error_data = delta_data;//�������
    while ((error_data > 0.8 || error_data < -0.8)) {
        if(motionflag) {
            motionflag = 0;
            if (error_data > 0) {
                //microturnright(5);
                microturnright(error_data * 6);
            } else {
                //microturnleft(5);
                microturnleft((-error_data) * 6);
            }

        }
        delta_data = IMU_data.data - last_data;//����
        if (last_data > 0 && IMU_data.data < 0 && delta_data < -180) {
            delta_data += 360;//�����Խ0�ȵ�����
        }
        error_data = delta_data;//�������
        //printf("error_data��%f\n", error_data);
    }
}
void car_left_pid(unsigned int gom){
    last_data = IMU_data.data;
    car_left(gom);
    delta_data = IMU_data.data - last_data;
    if (last_data > 0 && IMU_data.data < 0) {
        delta_data += 360;//�����Խ0�ȵ�����
    }
    error_data = delta_data;//�������
    while ((error_data > 0.8 || error_data < -0.8)) {
        if(motionflag) {
            motionflag = 0;
            if (error_data > 0) {
                //microturnright(5);
                microturnright(error_data * 6);
            } else {
                //microturnleft(5);
                microturnleft((-error_data) * 6);
            }

        }
        delta_data = IMU_data.data - last_data;//����
        if (last_data > 0 && IMU_data.data < 0&&delta_data<-180) {
            delta_data += 360;//�����Խ0�ȵ�����
        }
        error_data = delta_data;//�������
        //printf("error_data��%f\n", error_data);
    }
}
// ???????????????��????

void HAL_UART_RxCpltCallback(UART_HandleTypeDef *huart)
{
    if (huart->Instance == USART1)//openmvʶ�𵽶�ά��
    {
        code[0]=USART1_RXbuff[0]-48;
        code[1]=USART1_RXbuff[1]-48;

        code[2]=USART1_RXbuff[2]-48;
        if(USART1_RXbuff[0]-48 == 1)
        {
            LCD_DrawLine(10, 20, 10, 100);//????1
            if(USART1_RXbuff[1]-48 == 2)
            {
                QRCODE[0]=1;
                QRCODE[1]=2;
                QRCODE[2]=3;

                LCD_DrawLine(20, 20, 35, 20);//????2
                LCD_DrawLine(35, 20, 35, 60);
                LCD_DrawLine(20, 60, 35, 60);
                LCD_DrawLine(20, 60, 20, 100);
                LCD_DrawLine(20, 100, 35, 100);
                LCD_DrawLine(45, 20, 60, 20);//????3
                LCD_DrawLine(60, 20, 60, 60);
                LCD_DrawLine(45, 60, 60, 60);
                LCD_DrawLine(60, 60, 60, 100);
                LCD_DrawLine(45, 100, 60, 100);
            }
            if(USART1_RXbuff[1]-48 == 3)
            {
                QRCODE[0]=1;
                QRCODE[1]=3;
                QRCODE[2]=2;

                LCD_DrawLine(20, 20, 35, 20);//????2
                LCD_DrawLine(35, 20, 35, 60);
                LCD_DrawLine(20, 60, 35, 60);
                LCD_DrawLine(35, 60, 35, 100);
                LCD_DrawLine(20, 100, 35, 100);
                LCD_DrawLine(45, 20, 60, 20);//????3
                LCD_DrawLine(60, 20, 60, 60);
                LCD_DrawLine(45, 60, 60, 60);
                LCD_DrawLine(45, 60, 45, 100);
                LCD_DrawLine(45, 100, 60, 100);
            }

        }
        if(USART1_RXbuff[0]-48 == 2)
        {
            LCD_DrawLine(10, 20, 25, 20);//????2
            LCD_DrawLine(25, 20, 25, 60);
            LCD_DrawLine(10, 60, 25, 60);
            LCD_DrawLine(10, 60, 10, 100);
            LCD_DrawLine(10, 100, 25, 100);
            if(USART1_RXbuff[1]-48 == 1)
            {
                QRCODE[0]=2;
                QRCODE[1]=1;
                QRCODE[2]=3;

                LCD_DrawLine(35, 20, 35, 100);//????1
                LCD_DrawLine(45, 20, 60, 20);//????3
                LCD_DrawLine(60, 20, 60, 60);
                LCD_DrawLine(45, 60, 60, 60);
                LCD_DrawLine(60, 60, 60, 100);
                LCD_DrawLine(45, 100, 60, 100);
            }
            if(USART1_RXbuff[1]-48 == 3)
            {
                QRCODE[0]=2;
                QRCODE[1]=3;
                QRCODE[2]=1;

                LCD_DrawLine(60, 20, 60, 100);//????1
                LCD_DrawLine(35, 20, 50, 20);//????3
                LCD_DrawLine(50, 20, 50, 60);
                LCD_DrawLine(35, 60, 50, 60);
                LCD_DrawLine(50, 60, 50, 100);
                LCD_DrawLine(35, 100, 50, 100);
            }
        }
        if(USART1_RXbuff[0]-48 == 3)
        {
            LCD_DrawLine(10, 20, 25, 20);//????3
            LCD_DrawLine(25, 20, 25, 60);
            LCD_DrawLine(10, 60, 25, 60);
            LCD_DrawLine(25, 60, 25, 100);
            LCD_DrawLine(10, 100,25, 100);
            if(USART1_RXbuff[1]-48 == 1)
            {
                QRCODE[0]=3;
                QRCODE[1]=1;
                QRCODE[2]=2;

                LCD_DrawLine(35, 20, 35, 100);//????1
                LCD_DrawLine(45, 20, 60, 20);//????2
                LCD_DrawLine(60, 20, 60, 60);
                LCD_DrawLine(45, 60, 60, 60);
                LCD_DrawLine(45, 60, 45, 100);
                LCD_DrawLine(45, 100, 60, 100);
            }
            if(USART1_RXbuff[1]-48 == 2)
            {
                QRCODE[0]=3;
                QRCODE[1]=2;
                QRCODE[2]=1;

                LCD_DrawLine(60, 20, 60, 100);//????1
                LCD_DrawLine(35, 20, 50, 20);//????2
                LCD_DrawLine(50, 20, 50, 60);
                LCD_DrawLine(35, 60, 50, 60);
                LCD_DrawLine(35, 60, 35, 100);
                LCD_DrawLine(35, 100, 50, 100);
            }
        }

        if(USART1_RXbuff[4]-48 == 1)
        {
            LCD_DrawLine(10+90, 20, 10+90, 100);//????1
            if(USART1_RXbuff[5]-48 == 2)
            {
                QRCODE[3]=1;
                QRCODE[4]=2;
                QRCODE[5]=3;

                LCD_DrawLine(20+90, 20, 35+90, 20);//????2
                LCD_DrawLine(35+90, 20, 35+90, 60);
                LCD_DrawLine(20+90, 60, 35+90, 60);
                LCD_DrawLine(20+90, 60, 20+90, 100);
                LCD_DrawLine(20+90, 100, 35+90, 100);
                LCD_DrawLine(45+90, 20, 60+90, 20);//????3
                LCD_DrawLine(60+90, 20, 60+90, 60);
                LCD_DrawLine(45+90, 60, 60+90, 60);
                LCD_DrawLine(60+90, 60, 60+90, 100);
                LCD_DrawLine(45+90, 100, 60+90, 100);
            }
            if(USART1_RXbuff[5]-48 == 3)
            {
                QRCODE[3]=1;
                QRCODE[4]=3;
                QRCODE[5]=2;

                LCD_DrawLine(20+90, 20, 35+90, 20);//????2
                LCD_DrawLine(35+90, 20, 35+90, 60);
                LCD_DrawLine(20+90, 60, 35+90, 60);
                LCD_DrawLine(35+90, 60, 35+90, 100);
                LCD_DrawLine(20+90, 100, 35+90, 100);
                LCD_DrawLine(45+90, 20, 60+90, 20);//????3
                LCD_DrawLine(60+90, 20, 60+90, 60);
                LCD_DrawLine(45+90, 60, 60+90, 60);
                LCD_DrawLine(45+90, 60, 45+90, 100);
                LCD_DrawLine(45+90, 100, 60+90, 100);
            }

        }
        if(USART1_RXbuff[4]-48 == 2)
        {
            LCD_DrawLine(10+90, 20, 25+90, 20);//????2
            LCD_DrawLine(25+90, 20, 25+90, 60);
            LCD_DrawLine(10+90, 60, 25+90, 60);
            LCD_DrawLine(10+90, 60, 10+90, 100);
            LCD_DrawLine(10+90, 100, 25+90, 100);
            if(USART1_RXbuff[5]-48 == 1)
            {
                QRCODE[3]=2;
                QRCODE[4]=1;
                QRCODE[5]=3;

                LCD_DrawLine(35+90, 20, 35+90, 100);//????1
                LCD_DrawLine(45+90, 20, 60+90, 20);//????3
                LCD_DrawLine(60+90, 20, 60+90, 60);
                LCD_DrawLine(45+90, 60, 60+90, 60);
                LCD_DrawLine(60+90, 60, 60+90, 100);
                LCD_DrawLine(45+90, 100, 60+90, 100);
            }
            if(USART1_RXbuff[5]-48 == 3)
            {
                QRCODE[3]=2;
                QRCODE[4]=3;
                QRCODE[5]=1;

                LCD_DrawLine(60+90, 20, 60+90, 100);//????1
                LCD_DrawLine(35+90, 20, 50+90, 20);//????3
                LCD_DrawLine(50+90, 20, 50+90, 60);
                LCD_DrawLine(35+90, 60, 50+90, 60);
                LCD_DrawLine(50+90, 60, 50+90, 100);
                LCD_DrawLine(35+90, 100, 50+90, 100);
            }
        }
        if(USART1_RXbuff[4]-48 == 3)
        {
            LCD_DrawLine(10+90, 20, 25+90, 20);//????3
            LCD_DrawLine(25+90, 20, 25+90, 60);
            LCD_DrawLine(10+90, 60, 25+90, 60);
            LCD_DrawLine(25+90, 60, 25+90, 100);
            LCD_DrawLine(10+90, 100,25+90, 100);
            if(USART1_RXbuff[5]-48 == 1)
            {
                QRCODE[3]=3;
                QRCODE[4]=1;
                QRCODE[5]=2;

                LCD_DrawLine(35+90, 20, 35+90, 100);//????1
                LCD_DrawLine(45+90, 20, 60+90, 20);//????2
                LCD_DrawLine(60+90, 20, 60+90, 60);
                LCD_DrawLine(45+90, 60, 60+90, 60);
                LCD_DrawLine(45+90, 60, 45+90, 100);
                LCD_DrawLine(45+90, 100, 60+90, 100);
            }
            if(USART1_RXbuff[5]-48 == 2)
            {
                QRCODE[3]=3;
                QRCODE[4]=2;
                QRCODE[5]=1;

                LCD_DrawLine(60+90, 20, 60+90, 100);//????1
                LCD_DrawLine(35+90, 20, 50+90, 20);//????2
                LCD_DrawLine(50+90, 20, 50+90, 60);
                LCD_DrawLine(35+90, 60, 50+90, 60);
                LCD_DrawLine(35+90, 60, 35+90, 100);
                LCD_DrawLine(35+90, 100, 50+90, 100);
            }
        }
        LCD_DrawLine(80, 40, 80, 80);//????+
        LCD_DrawLine(70, 60, 90, 60);

        //HAL_UART_Receive_IT(&huart1,(uint8_t *)USART1_RXbuff, 7);
    }
    if (huart->Instance == UART7)  // ??????��???????2?��?��??????
    {

        RxLine++;                        // ???????????????????????��????1
        DataBuff[RxLine - 1] = k230_RxBuffer[0];  // ????????????????????????����
        if (k230_RxBuffer[0] == 'i')         // ??????��????????��??����???��??????0x21???????????��???????��????????
        {
              // ?????????????????��??

            Get_Data();  // ????????????????????��????��????????????????1?????��???????��????????
            memset(DataBuff, 0, sizeof(DataBuff));  // ????????????
            RxLine = 0;  // ?????????��??????
        }

        k230_RxBuffer[0] = 0;  // ????????????
        HAL_UART_Receive_IT(&huart7, (uint8_t *)k230_RxBuffer, 1);  // ??????????????????????????��???

    }

    if (huart->Instance == UART5)  // IMU
    {
        IMU_data.buff[0] = IMU_RxBuffer[0];
        IMU_data.buff[1] = IMU_RxBuffer[1];
        IMU_data.buff[2] = IMU_RxBuffer[2];
        IMU_data.buff[3] = IMU_RxBuffer[3];
        motionflag = 1;
        // printf("IMU_data:%f\n",IMU_data.data);
        HAL_UART_Receive_IT(&huart5, (uint8_t *)IMU_RxBuffer, 4);  // ??????????????????????????��???
    }
}

/* USER CODE END 4 */

void Error_Handler(void)
{
    __disable_irq();
    while (1)
    {
    }
}
